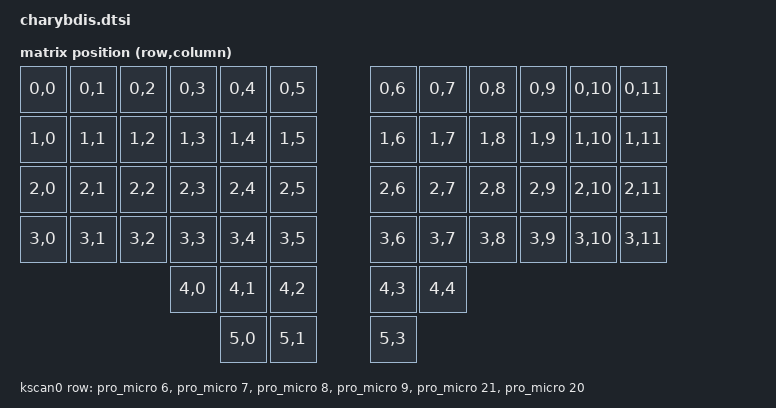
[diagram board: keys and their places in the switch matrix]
#include <dt-bindings/zmk/matrix_transform.h>
#include <charybdis_left_pinctrl.dtsi>
#include <charybdis_right_pinctrl.dtsi>

/ {
    wired_split{
        compatible = "zmk,wired-split";
        device = <&pro_micro_serial>;
    }

    kscan0: kscan0 {
        compatible = "zmk,kscan-gpio-matrix";
        diode-direction = "col2row";
        wakeup-source;

        row-gpios
            = <&pro_micro 6 (GPIO_ACTIVE_HIGH | GPIO_PULL_DOWN)>
            , <&pro_micro 7 (GPIO_ACTIVE_HIGH | GPIO_PULL_DOWN)>
            , <&pro_micro 8 (GPIO_ACTIVE_HIGH | GPIO_PULL_DOWN)>
            , <&pro_micro 9 (GPIO_ACTIVE_HIGH | GPIO_PULL_DOWN)>
            , <&pro_micro 21 (GPIO_ACTIVE_HIGH | GPIO_PULL_DOWN)>
            , <&pro_micro 20 (GPIO_ACTIVE_HIGH | GPIO_PULL_DOWN)>
	    ;

            chosen {
        zmk,kscan = &kscan0;
        zmk,physical-layout = &charybdis_physical_layout;
        // Other chosen items
    };

&spi0 {
	status = "okay";
	cs-gpios = <&gpio0 17 GPIO_ACTIVE_LOW>;
	mouse: mouse@0 {
		compatible = "pixart,pmw3360";
		status = "okay";
		reg = <0>;
		spi-max-frequency = <2000000>;

		// pmw3360 driver parameters
		irq-gpios = <&gpio0 20 (GPIO_ACTIVE_LOW | GPIO_PULL_UP)>;
		cpi = <600>;
		rotate-90;
	};
};

mouse_listener {
		compatible = "zmk,input-listener";
		device = <&mouse>;
	};


    };
        default_transform: keymap_transform0 {
        compatible = "zmk,matrix-transform";
        columns = <12>;
        rows = <6>;
        map = <
        //  LKey 1 |LKey 2 |LKey 3 LKey 4 |LKey 5 |LKey 6           RKey 1 |RKey 2 |RKey 3 RKey 4 |RKey 5 |RKey 6
            RC(0,0) RC(0,1) RC(0,2) RC(0,3) RC(0,4) RC(0,5)         RC(0,6) RC(0,7) RC(0,8) RC(0,9) RC(0,10) RC(0,11)
        //  LKey 7 |LKey 8 |LKey 9 LKey 10 |LKey 11 |LKey 12        RKey 7 |RKey 8 |RKey 9 RKey 10 |RKey 11 |RKey 12
            RC(1,0) RC(1,1) RC(1,2) RC(1,3) RC(1,4) RC(1,5)         RC(1,6) RC(1,7) RC(1,8) RC(1,9) RC(1,10) RC(1,11)
        //  LKey 13 |LKey 14 |LKey 15 LKey 16 |LKey 17 |LKey 18     RKey 13 |RKey 14 |RKey 15 RKey 16 |RKey 17 |RKey 18
            RC(2,0) RC(2,1) RC(2,2) RC(2,3) RC(2,4) RC(2,5)         RC(2,6) RC(2,7) RC(2,8) RC(2,9) RC(2,10) RC(2,11)
        //  LKey 19 |LKey 20 |LKey 21 LKey 22 |LKey 23 |LKey 24     RKey 19 |RKey 20 |RKey 21 RKey 22 |RKey 23 |RKey 24
            RC(3,0) RC(3,1) RC(3,2) RC(3,3) RC(3,4) RC(3,5)         RC(3,6) RC(3,7) RC(3,8) RC(3,9) RC(3,10) RC(3,11)
        //                          LKey 25 |LKey 26 |LKey 27       RKey 25 |RKey 26
                                    RC(4,0) RC(4,1) RC(4,2)         RC(4,3) RC(4,4)
        //                                  LKey 28 |LKey 29        RKey 1
                                            RC(5,0) RC(5,1)         RC(5,3)
        >;
    };

};
